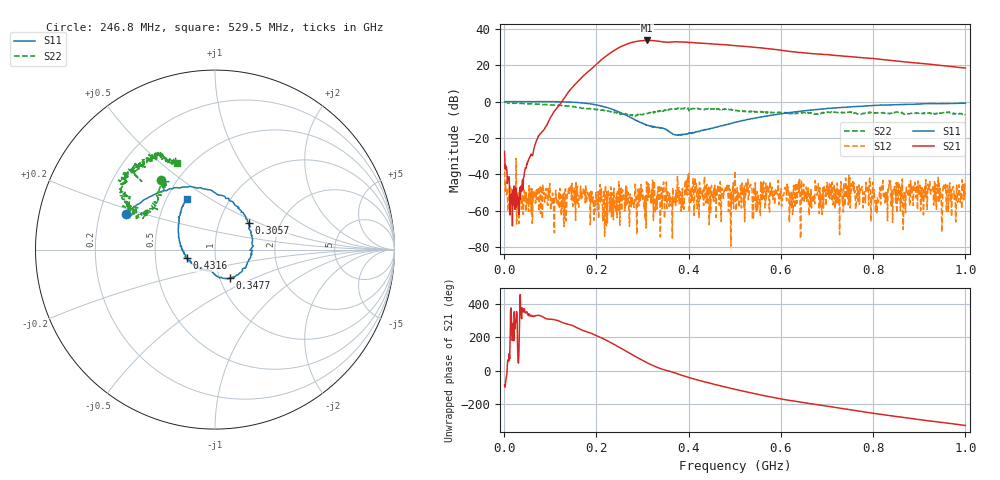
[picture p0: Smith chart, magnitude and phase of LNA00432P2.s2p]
! Created with skrf 1.9.0 (http://scikit-rf.org).
# Hz S RI R 50.0
!freq ReS11 ImS11 ReS21 ImS21 ReS12 ImS12 ReS22 ImS22
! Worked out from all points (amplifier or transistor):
!   1001 points, 1 MHz to 1 GHz, reference 50 ohm
!   highest |S21| = 33.6 dB at 309.7 MHz (marker M1)
!   |S21| within 3 dB of that: 256.5 MHz to 508.9 MHz (252.5 MHz wide, 66 % of centre)
!   unconditionally stable (mu >= 1): 127.9 MHz to 375.5 MHz; 413.6 MHz to 500.1 MHz; 500.8 MHz to end of sweep (the widest 3 of 22)
!   at 166.8 MHz: K = 4.81, MAG = 23.5 dB, |S12| = -53.7 dB
!   at 500.5 MHz: K = 0.81, MSG = 34.4 dB, |S12| = -38.1 dB
!   at 1 GHz: K = 2.47, MAG = 27.7 dB, |S12| = -50.3 dB
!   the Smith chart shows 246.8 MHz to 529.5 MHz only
!   S11 on the Smith chart (normalised r, x): 246.8 MHz: 0.31, +0.18; 305.7 MHz: 1.39, +0.43; 347.7 MHz: 1.12, -0.36; 431.6 MHz: 0.73, -0.07; 529.5 MHz: 0.63, +0.40
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1000000  0.9751 0.00847  0.00127 -0.0427  -0.0199 -0.0041  -0.9826 -0.1297
1.67833e8  -0.2248 -0.8945  -1.934 -4.139  0.00118 -0.00322  -0.5089 0.4072
2.14786e8  -0.6696 -0.3008  -15.2 -3.13  0.0012 0.000249  -0.395 0.4349
2.46754e8  -0.4957 0.1994  -23.79 17.09  0.000732 0.000597  -0.2993 0.3894
2.62738e8  -0.2839 0.3275  -17.93 31.62  -0.00267 -0.00023  -0.2992 0.3639
2.79721e8  -0.041 0.3341  -1.815 42.86  0.00155 -0.00105  -0.3451 0.2353
2.91709e8  0.0985 0.2664  12.96 44.25  0.000679 -0.00119  -0.3654 0.2072
3.05695e8  0.1884 0.1465  28.43 37.71  0.000525 -0.000292  -0.4078 0.2028
3.09691e8  0.1955 0.1084  32.39 35.01  -0.00158 -0.00282  -0.424 0.1962
3.34666e8  0.1682 -0.1042  43.79 12.52  0.00053 0.00179  -0.4805 0.237
3.47653e8  0.084 -0.1574  43.15 2.796  -0.000125 0.000615  -0.5182 0.2897
3.8062e8  -0.0342 -0.1179  39.9 -18.05  -0.000962 0.0026  -0.5143 0.3968
4.05595e8  -0.0917 -0.0976  29.16 -30.15  -0.0028 0.00312  -0.4631 0.4481
4.31569e8  -0.157 -0.0457  16.2 -36.49  0.00209 0.00065  -0.4014 0.4807
4.63537e8  -0.1992 0.0484  1.019 -37.46  -8.46e-05 0.00474  -0.3532 0.5117
5.005e8  -0.2035 0.1807  -13.7 -31.83  0.0108 0.00626  -0.255 0.4947
5.29471e8  -0.1586 0.2832  -21.07 -24.18  0.00112 0.00169  -0.211 0.4828
5.82418e8  -0.0108 0.4274  -26.14 -8.547  0.0012 -0.0017  -0.2021 0.4614
6.67333e8  0.3133 0.4992  -19.31 7.512  -0.00105 -0.00212  -0.1842 0.4506
7.53247e8  0.6109 0.3869  -9.035 14.38  0.00418 -0.00382  -0.1107 0.5036
8.34166e8  0.7945 0.1601  0.2736 13.66  0.00385 -0.00346  -0.0155 0.4786
1e9  0.8186 -0.3845  7.37 4.048  0.00304 -0.00025  0.1394 0.4288
